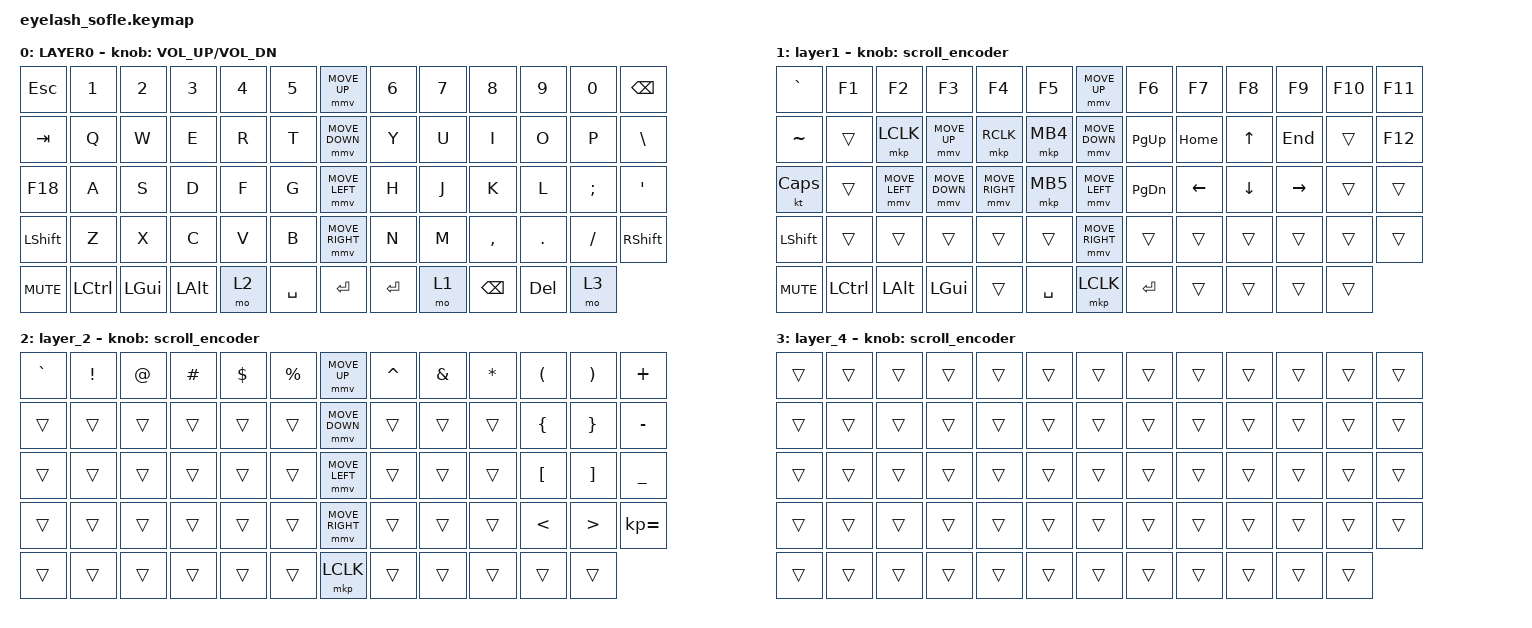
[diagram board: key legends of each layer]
#define ZMK_POINTING_DEFAULT_MOVE_VAL 1200  // 600
#define ZMK_POINTING_DEFAULT_SCRL_VAL 25   // 10

#include <input/processors.dtsi>
#include <zephyr/dt-bindings/input/input-event-codes.h>
#include <behaviors.dtsi>
#include <dt-bindings/zmk/bt.h>
#include <dt-bindings/zmk/keys.h>
#include <dt-bindings/zmk/outputs.h>
#include <dt-bindings/zmk/pointing.h>
#include <dt-bindings/zmk/rgb.h>

&mmv_input_listener { input-processors = <&zip_xy_scaler 2 1>; };

&msc_input_listener { input-processors = <&zip_scroll_scaler 2 1>; };

&msc {
    acceleration-exponent = <1>;      // 0
    time-to-max-speed-ms = <100>;       // 300
    delay-ms = <0>;                   // 0
};

&mmv {
    time-to-max-speed-ms = <500>;
    acceleration-exponent = <1>;
    trigger-period-ms = <16>;
};

/ {
    scroll_encoder: scroll_encoder {
        compatible = "zmk,behavior-sensor-rotate";
        #sensor-binding-cells = <0>;
        bindings = <&msc SCRL_DOWN>, <&msc SCRL_UP>;

        tap-ms = <100>;
    };

    behaviors {
    };

    combos {
        compatible = "zmk,combos";

        caps_word {
            bindings = <&caps_word>;
            key-positions = <40 50>;
        };

        left_bracket {
            bindings = <&kp LEFT_BRACKET>;
            key-positions = <17 16>;
        };

        right_bracket {
            bindings = <&kp RIGHT_BRACKET>;
            key-positions = <21 22>;
        };

        left_brace {
            bindings = <&kp LEFT_BRACE>;
            key-positions = <30 29>;
        };

        right_brace {
            bindings = <&kp RIGHT_BRACE>;
            key-positions = <34 35>;
        };

        left_parenthesis {
            bindings = <&kp LEFT_PARENTHESIS>;
            key-positions = <42 43>;
        };

        right_parenthesis {
            bindings = <&kp RIGHT_PARENTHESIS>;
            key-positions = <47 48>;
        };
    };

    keymap {
        compatible = "zmk,keymap";

        layer0 {
            bindings = <
&kp ESC     &kp N1     &kp N2        &kp N3        &kp N4  &kp N5       &mmv MOVE_UP     &kp N6   &kp N7  &kp N8         &kp N9      &kp N0    &kp BACKSPACE
&kp TAB     &kp Q      &kp W         &kp E         &kp R   &kp T        &mmv MOVE_DOWN   &kp Y    &kp U   &kp I          &kp O       &kp P     &kp BSLH
&kp F18     &kp A      &kp S         &kp D         &kp F   &kp G        &mmv MOVE_LEFT   &kp H    &kp J   &kp K          &kp L       &kp SEMI  &kp APOS
&kp LSHFT   &kp Z      &kp X         &kp C         &kp V   &kp B        &mmv MOVE_RIGHT  &kp N    &kp M   &kp COMMA      &kp DOT     &kp FSLH  &kp RIGHT_SHIFT
&kp C_MUTE  &kp LCTRL  &kp LEFT_GUI  &kp LEFT_ALT  &mo 2   &kp SPACE    &kp ENTER        &kp RET  &mo 1   &kp BACKSPACE  &kp DELETE  &mo 3
            >;

            sensor-bindings = <&inc_dec_kp C_VOLUME_UP C_VOL_DN>;
            display-name = "LAYER0";
        };

        layer_1 {
            bindings = <
&kp GRAVE       &kp F1     &kp F2          &kp F3          &kp F4           &kp F5       &mmv MOVE_UP     &kp F6     &kp F7    &kp F8    &kp F9     &kp F10  &kp F11
&kp TILDE       &trans     &mkp LCLK       &mmv MOVE_UP    &mkp RCLK        &mkp MB4     &mmv MOVE_DOWN   &kp PG_UP  &kp HOME  &kp UP    &kp END    &trans   &kp F12
&kt CAPSLOCK    &trans     &mmv MOVE_LEFT  &mmv MOVE_DOWN  &mmv MOVE_RIGHT  &mkp MB5     &mmv MOVE_LEFT   &kp PG_DN  &kp LEFT  &kp DOWN  &kp RIGHT  &trans   &trans
&kp LEFT_SHIFT  &trans     &trans          &trans          &trans           &trans       &mmv MOVE_RIGHT  &trans     &trans    &trans    &trans     &trans   &trans
&kp C_MUTE      &kp LCTRL  &kp LALT        &kp LGUI        &trans           &kp SPACE    &mkp LCLK        &kp ENTER  &trans    &trans    &trans     &trans
            >;

            display-name = "layer1";
            sensor-bindings = <&scroll_encoder>;
        };

        layer_2 {
            bindings = <
&kp GRAVE  &kp EXCL  &kp AT  &kp HASH  &kp DOLLAR  &kp PERCENT    &mmv MOVE_UP     &kp CARET  &kp AMPERSAND  &kp ASTERISK  &kp LEFT_PARENTHESIS  &kp RIGHT_PARENTHESIS  &kp PLUS
&trans     &trans    &trans  &trans    &trans      &trans         &mmv MOVE_DOWN   &trans     &trans         &trans        &kp LEFT_BRACE        &kp RIGHT_BRACE        &kp MINUS
&trans     &trans    &trans  &trans    &trans      &trans         &mmv MOVE_LEFT   &trans     &trans         &trans        &kp LEFT_BRACKET      &kp RIGHT_BRACKET      &kp UNDER
&trans     &trans    &trans  &trans    &trans      &trans         &mmv MOVE_RIGHT  &trans     &trans         &trans        &kp LESS_THAN         &kp GREATER_THAN       &kp KP_EQUAL
&trans     &trans    &trans  &trans    &trans      &trans         &mkp LCLK        &trans     &trans         &trans        &trans                &trans
            >;

            sensor-bindings = <&scroll_encoder>;
        };

        layer_4 {
            bindings = <
&kp TILDE  &bt BT_SEL 0  &bt BT_SEL 1    &bt BT_SEL 2  &bt BT_SEL 3  &bt BT_SEL 4    &mmv MOVE_UP     &rgb_ug RGB_ON   &rgb_ug RGB_BRI  &rgb_ug RGB_SPI  &rgb_ug RGB_EFF  &rgb_ug RGB_HUI  &rgb_ug RGB_SAI
&trans     &bt BT_CLR    &bt BT_CLR_ALL  &trans        &trans        &trans          &mmv MOVE_DOWN   &rgb_ug RGB_OFF  &rgb_ug RGB_BRD  &rgb_ug RGB_SPD  &rgb_ug RGB_EFR  &rgb_ug RGB_HUD  &rgb_ug RGB_SAD
&trans     &out OUT_USB  &out OUT_BLE    &trans        &trans        &trans          &mmv MOVE_LEFT   &trans           &trans           &trans           &trans           &trans           &trans
&trans     &sys_reset    &trans          &bootloader   &trans        &trans          &mmv MOVE_RIGHT  &trans           &trans           &sys_reset       &soft_off        &bootloader      &trans
&trans     &trans        &trans          &trans        &trans        &trans          &mkp LCLK        &trans           &trans           &trans           &trans           &trans
            >;

            sensor-bindings = <&scroll_encoder>;
        };

        layer_4 {
            bindings = <
&trans  &trans  &trans  &trans  &trans  &trans    &trans  &trans  &trans  &trans  &trans  &trans  &trans
&trans  &trans  &trans  &trans  &trans  &trans    &trans  &trans  &trans  &trans  &trans  &trans  &trans
&trans  &trans  &trans  &trans  &trans  &trans    &trans  &trans  &trans  &trans  &trans  &trans  &trans
&trans  &trans  &trans  &trans  &trans  &trans    &trans  &trans  &trans  &trans  &trans  &trans  &trans
&trans  &trans  &trans  &trans  &trans  &trans    &trans  &trans  &trans  &trans  &trans  &trans
            >;
        };
    };
};
